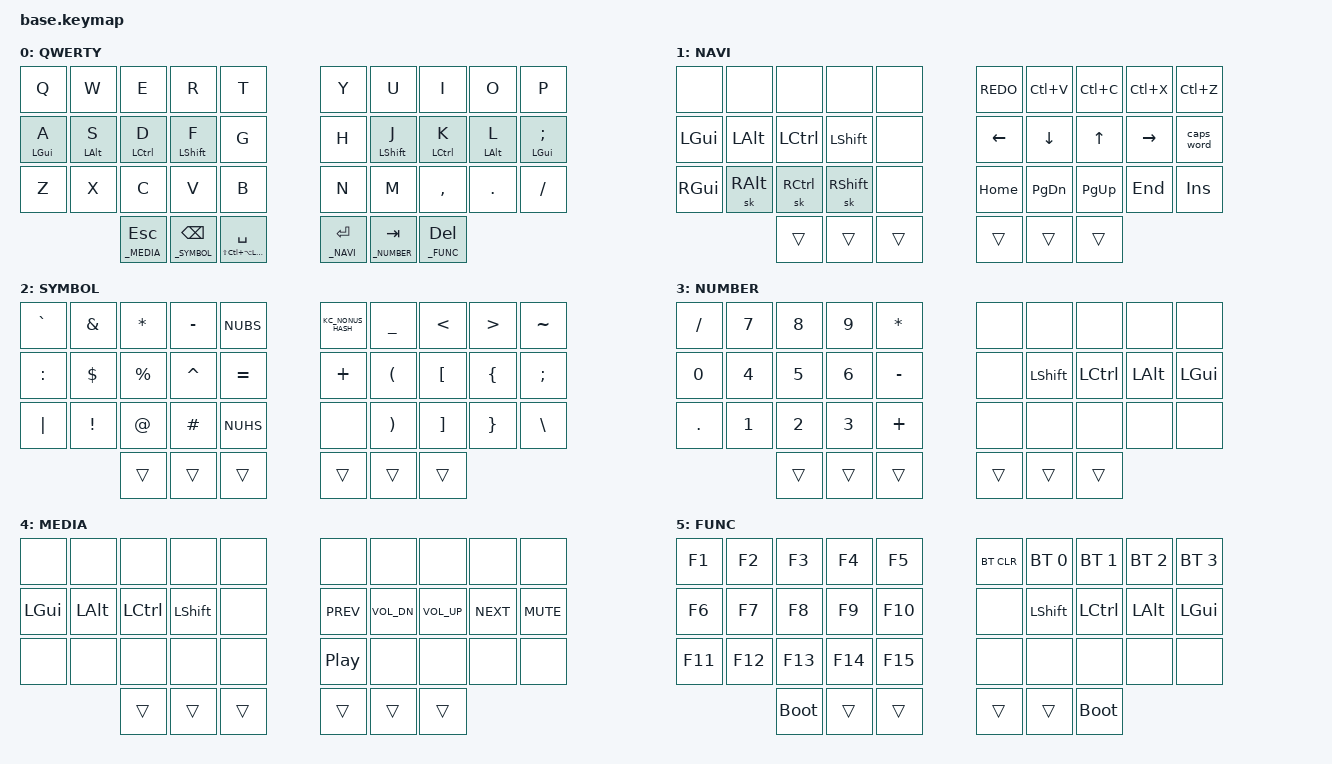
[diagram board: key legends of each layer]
#include <behaviors.dtsi>
#include <dt-bindings/zmk/keys.h>

#include <dt-bindings/zmk/bt.h>
#include <dt-bindings/zmk/ext_power.h>
#include "zmk-helpers/helper.h"

#define _DEFAULT 0
#define _NAVI 1
#define _SYMBOL 2
#define _NUMBER 3
#define _MEDIA 4
#define _FUNC 5

#define _HYP LS(LC(LA(LGUI)))
#define HYPER(key) LS(LC(LA(LG(key))))

#define TAPPING_TERM 200
#define QUICK_TAP 149


&lt {
	tapping-term-ms = <TAPPING_TERM>;
	quick-tap-ms = <QUICK_TAP>;
};

&mt {
	tapping-term-ms = <TAPPING_TERM>;
	quick-tap-ms = <QUICK_TAP>;
};


  
/ {
	/* Key index
	0  1  2  3  4         5  6  7  8  9
	10 11 12 13 14        15 16 17 18 19
	20 21 22 23 24        25 26 27 28 29
	30 31 32    33 34 35         */
	
	combos {
		compatible = "zmk,combos";
		
		combo_quote {
			timeout-ms = <50>;
			key-positions = <17 18 19>;
			bindings = <&kp SQT>;
		};
		combo_esc {
			timeout-ms = <50>;
			key-positions = <11 12 13>;
			bindings = <&kp ESC>;
		};
	};

	behaviors {
		hm: homerow_mods {
			compatible = "zmk,behavior-hold-tap";
			label = "HOMEROW_MODS";
			#binding-cells = <2>;
			tapping-term-ms = <TAPPING_TERM>;
			quick-tap-ms = <QUICK_TAP>;
			flavor = "tap-preferred";
			bindings = <&kp>, <&kp>;
		};
	};

	keymap {
		compatible = "zmk,keymap";
		
		default_layer {
			label = "QWERTY";
			bindings = <
			&kp Q      &kp W      &kp E       &kp R       &kp T   &kp Y &kp U        &kp I        &kp O      &kp P
			&hm LGUI A &hm LALT S &hm LCTRL D &hm LSHFT F &kp G   &kp H &hm LSHFT J  &hm LCTRL K  &hm LALT L &hm LGUI SEMI
			&kp Z      &kp X      &kp C       &kp V       &kp B   &kp N &kp M        &kp COMMA    &kp DOT    &kp FSLH
			&lt _MEDIA ESC  &lt _SYMBOL BSPC  &mt _HYP SPC  &lt _NAVI RET  &lt _NUMBER TAB  &lt _FUNC DEL
			>;
		};
		
		navi_layer {
			label = "NAVI";
			bindings = <
			&none      &none      &none       &none       &none  &kp K_REDO  &kp LC(V)    &kp LC(C)   &kp LC(X)  &kp LC(Z)
			&kp LGUI   &kp LALT   &kp LCTRL   &kp LSHFT   &none  &kp LEFT    &kp DOWN     &kp UP      &kp RIGHT  &caps_word
			&kp RGUI   &sk RALT   &sk RCTRL   &sk RSHFT   &none  &kp HOME    &kp PG_DN    &kp PG_UP   &kp END    &kp INS
			&trans     &trans      &trans                         &trans       &trans      &trans
			>;
		};
		
		symbol_layer {
			label = "SYMBOL";
			bindings = <
			&kp GRAVE  &kp AMPS  &kp STAR   &kp MINUS   &kp NUBS   &kp KC_NONUS_HASH     &kp UNDER &kp LT    &kp GT    &kp TILDE
			&kp COLON  &kp DLLR  &kp PRCNT  &kp CARET   &kp EQUAL  &kp PLUS  &kp LPAR  &kp LBKT  &kp LBRC  &kp SEMI
			&kp PIPE   &kp EXCL  &kp AT     &kp HASH    &kp NUHS   &none     &kp RPAR  &kp RBKT  &kp RBRC  &kp BSLH
			&trans    &trans     &trans                           &trans    &trans    &trans
			>;
		};
		
		number_layer {
			label = "NUMBER";
			bindings = <
			&kp FSLH  &kp N7  &kp N8  &kp N9  &kp STAR   &none  &none      &none      &none     &none
			&kp N0    &kp N4  &kp N5  &kp N6  &kp MINUS  &none  &kp LSHFT  &kp LCTRL  &kp LALT  &kp LGUI
			&kp DOT   &kp N1  &kp N2  &kp N3  &kp PLUS   &none  &none      &none      &none     &none
			&trans  &trans  &trans                    &trans     &trans     &trans
			>;
		};
		
		
		media_layer {
			label = "MEDIA";
			bindings = <
			&none      &none      &none       &none       &none      &none      &none   &none    &none   &none
			&kp LGUI   &kp LALT   &kp LCTRL   &kp LSHFT   &none      &kp C_PREV  &kp C_VOL_DN  &kp C_VOL_UP  &kp C_NEXT  &kp K_MUTE
			&none      &none      &none       &none       &none      &kp C_PP    &none         &none         &none       &none
			&trans     &trans      &trans                             &trans        &trans        &trans
			>;
		};
		
		function_layer {
			label = "FUNC";
			bindings = <
			&kp F1     &kp F2       &kp F3      &kp F4      &kp F5        &bt BT_CLR  &bt BT_SEL 0  &bt BT_SEL 1  &bt BT_SEL 2  &bt BT_SEL 3
			&kp F6     &kp F7       &kp F8      &kp F9      &kp F10        &none       &kp LSHFT     &kp LCTRL     &kp LALT      &kp LGUI
			&kp F11    &kp F12      &kp F13     &kp F14     &kp F15       &none       &none         &none         &none         &none
			&bootloader  &trans      &trans                                &trans        &trans        &bootloader
			>;
		};
		
	};
};
